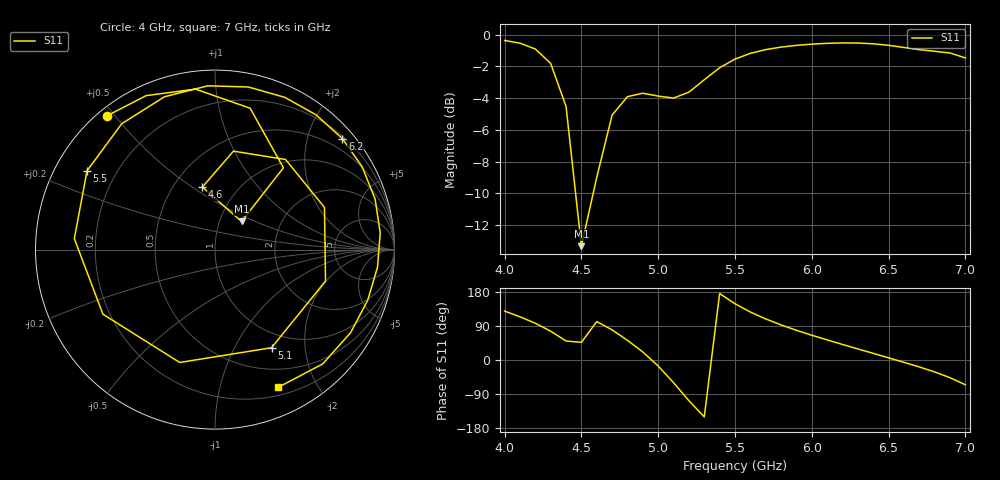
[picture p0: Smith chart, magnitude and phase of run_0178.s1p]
! Touchstone file exported from HFSS 2024.2.0
!  File:  C:/Users/wsak9/Desktop/Sim Fast/Widenad Patch/WP_AI_V1_sweep.aedt
!  Generated:  10:22:28 PM Oct 13, 2026
!  Design:  A1_model
!  Project:  WP_AI_V1_sweep
!  Setup:  Setup1
!  Solution:  Sweep
! Variables:
!  Air_gap = 3.13mm
!  Curve_Amp1 = 2.6
!  Curve_len1 = 1
!  Curve_pos = 12.105mm
!  Extra = 3.08mm
!  H_sub = 0.79mm
!  L_Patch = 20.21mm
!  L_Patch1 = 15.16mm
!  Sx = 3.9mm
!  Sy = 3.07mm
!  WS = 0.51mm
!  W_Patch = 20.77mm
!  W_Patch1 = 12.08mm
!Data is not renormalized
# GHz S MA
! Terminal data exported
! Port[1] = 1
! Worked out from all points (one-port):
!   31 points, 4 GHz to 7 GHz, reference per port
!   lowest |S11| = -13.3 dB at 4.5 GHz (marker M1), VSWR 1.55
!   |S11| at or under -10 dB: 4.462 GHz to 4.577 GHz (114.5 MHz wide, 2.53 % of centre)
!   S11 on the Smith chart (normalised r, x): 4 GHz: 0.03, +0.48; 4.6 GHz: 0.69, +0.55; 5.1 GHz: 0.78, -1.42; 5.5 GHz: 0.10, +0.28; 6.2 GHz: 0.24, +2.65; 7 GHz: 0.28, -1.52
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4  0.9584 129.0
4.1  0.9396 114.1
4.2  0.9007 97.0
4.3  0.8117 76.0
4.4  0.594 50.1
4.5  0.2156 46.7
4.6  0.3553 101.4
4.7  0.558 79.4
4.8  0.6377 51.9
4.9  0.6536 21.1
5  0.6402 -15.9
5.1  0.631 -60.1
5.2  0.6589 -107.4
5.3  0.7208 -150.1
5.4  0.7862 175.5
5.5  0.8373 148.4
5.6  0.8729 126.5
5.7  0.8969 108.3
5.8  0.9134 92.5
5.9  0.9249 78.4
6  0.9331 65.3
6.2  0.9414 41.0
6.3  0.9407 29.3
6.5  0.9251 5.7
6.7  0.8965 -18.3
6.8  0.886 -31.4
6.9  0.8752 -46.7
7  0.8443 -65.4
